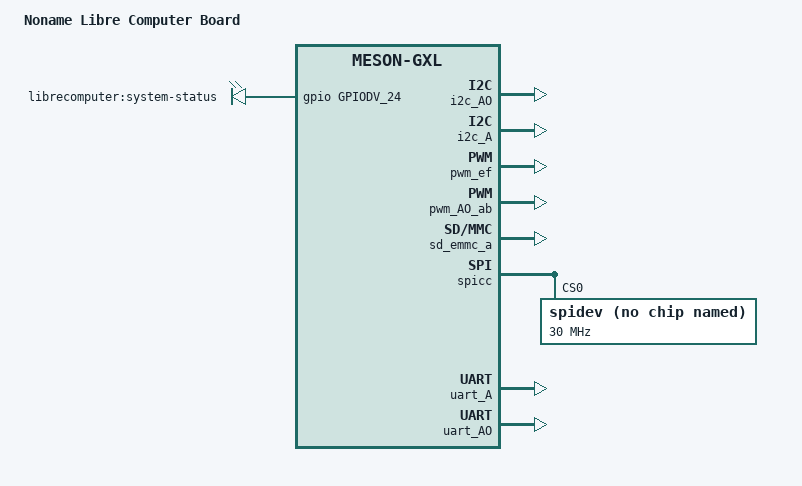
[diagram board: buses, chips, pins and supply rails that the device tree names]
/*
 * Copyright (c) 2017 BayLibre, SAS.
 * Author: Neil Armstrong <narmstrong@baylibre.com>
 *
 * SPDX-License-Identifier: (GPL-2.0+ OR MIT)
 */

/dts-v1/;

#include <dt-bindings/input/input.h>

#include "meson-gxl-s905x-p212.dtsi"

/ {
	compatible = "noname,librecomputer", "amlogic,s905x", "amlogic,meson-gxl";
	model = "Noname Libre Computer Board";

	aliases {
		spi0 = &spicc;
	};

	leds {
		compatible = "gpio-leds";

		system {
			label = "librecomputer:system-status";
			gpios = <&gpio GPIODV_24 GPIO_ACTIVE_HIGH>;
			default-state = "on";
			panic-indicator;
		};
	};
};

&ir {
	linux,rc-map-name = "rc-geekbox";
};

/*
 * Header 7J1 Pins Mapping :
 * - 3, 5 : I2C AO
 * - 7 : GPIOAO_9 (REMOTE OUT / SPDIF)
 * - 8, 10, 16, 18 : UART A
 * - 11 : GPIOAO_2
 * - 13, 12 : PWM AO A/B
 * - 15 : GPIOCLK_0
 * - 19, 21, 23, 24 : SPICC
 * - 27, 28 : I2C A
 * - 29 : GPIOX_17
 * - 31 : GPIOX_18
 * - 32 : PWM E
 * - 33 : SDIO PWREN
 * - 22, 26, 35, 36, 37, 38, 40 : SDIO

/* Header 7J1 Pins 3 (SDA), 5 (SCL) */
&i2c_AO {
	status = "okay";
	pinctrl-0 = <&i2c_ao_pins>;
	pinctrl-names = "default";
};

/* Header 7J1 Pins 27 (SDA), 28 (SCL) */
&i2c_A {
	status = "okay";
	pinctrl-0 = <&i2c_a_pins>;
	pinctrl-names = "default";
};

/* Header 7J1 Pins 32 (PWM E) */
&pwm_ef {
	status = "okay";
	pinctrl-0 = <&pwm_e_pins>;
	pinctrl-names = "default";
	clocks = <&clkc CLKID_FCLK_DIV4>;
	clock-names = "clkin0";
};

/* Header 7J1 Pins 13 (PWM_AO_A), 12 (PWM_AO_B) */
&pwm_AO_ab {
	status = "okay";
	pinctrl-0 = <&pwm_ao_a_3_pins>, <&pwm_ao_b_6_pins>;
	pinctrl-names = "default";
	clocks = <&clkc CLKID_FCLK_DIV4>, <&clkc CLKID_FCLK_DIV4>;
	clock-names = "clkin0", "clkin1";
};

/* Header 7J1 Pins 22;26;36;38 (D0-D3), 35 (IRQ), 37 (CMD), 40 (CLK) */
&sd_emmc_a {
	status = "okay";
	pinctrl-0 = <&sdio_pins>;
	pinctrl-names = "default";
};

/* Header 7J1 Pins 19 (MOSI), 21 (MISO), 23 (CLK), 24 (SS0) */
&spicc {
	status = "okay";
	pinctrl-0 = <&spi_pins>;
	pinctrl-names = "default";

	spidev@0 {
		compatible = "spidev";
		reg = <0>;
		spi-max-frequency = <30000000>;
	};
};

/* Header 7J1 Pins 8 (TX), 10 (RX), 16 (CTS), 18 (RTS) */
&uart_A {
	status = "okay";
};

/* Header 2J1 Pins 2 (TX), 3 (RX) */
&uart_AO {
	status = "okay";
};
